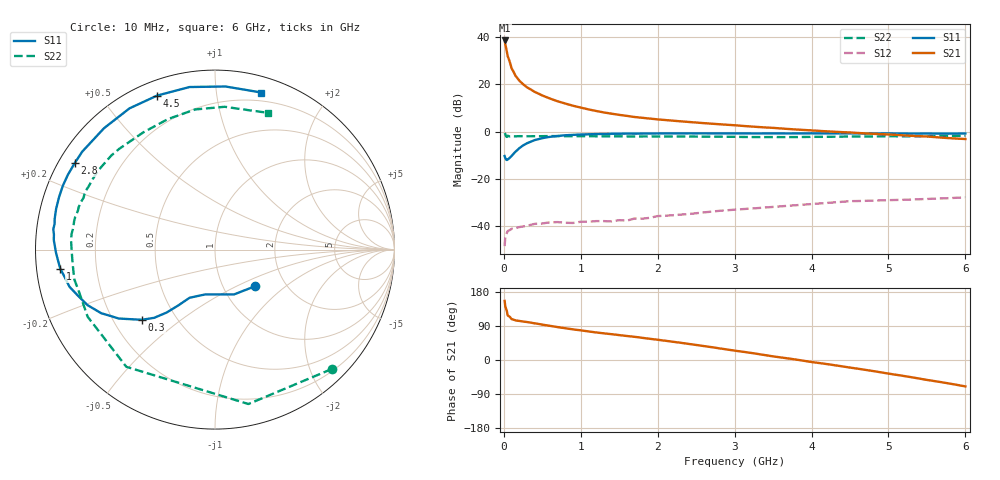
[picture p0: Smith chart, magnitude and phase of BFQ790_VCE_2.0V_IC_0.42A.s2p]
! Infineon Technologies  Discrete & RF Semiconductors
! BFQ790
! VCE =  2.0 V,  IC = 0.42 A
! Common Emitter S-Parameters:  May 2015
# GHz  S  MA  R  50
!  f  S11  S21  S12  S22
! GHz  MAG  ANG  MAG  ANG  MAG  ANG  MAG  ANG
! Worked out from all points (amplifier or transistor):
!   77 points, 10 MHz to 6 GHz, reference 50 ohm
!   highest |S21| = 38.7 dB at 10 MHz (marker M1)
!   |S21| within 3 dB of that: start of sweep to 28.6 MHz
!   unconditionally stable (mu >= 1): 144.1 MHz to end of sweep
!   at 130 MHz: K = 0.91, MSG = 33.1 dB, |S12| = -41.1 dB
!   at 2.2 GHz: K = 1.41, MAG = 16.2 dB, |S12| = -35.5 dB
!   at 6 GHz: K = 1.14, MAG = 10.1 dB, |S12| = -27.9 dB
!   S11 on the Smith chart (normalised r, x): 10 MHz: 1.41, -0.63; 300 MHz: 0.32, -0.37; 1 GHz: 0.07, -0.06; 2.8 GHz: 0.05, +0.28; 4.5 GHz: 0.06, +0.69; 6 GHz: 0.13, +1.33
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0.01  0.3035 -42.1  86.07 156.0  0.0037 66.9  0.9303 -45.7
0.02  0.2713 -66.9  70.49 139.9  0.0061 48.5  0.8802 -77.8
0.05  0.2558 -102.4  39.84 117.6  0.0077 25.9  0.8188 -127.1
0.1  0.3032 -117.8  22.09 107.9  0.0086 18.2  0.8021 -152.2
0.15  0.3721 -123.3  15.45 104.6  0.0089 18.4  0.7934 -162.8
0.2  0.4429 -127.6  12.15 103.1  0.0094 23.5  0.801 -168.0
0.25  0.5089 -131.7  10.14 101.5  0.0097 17.8  0.7977 -171.7
0.3  0.565 -136.2  8.724 100.2  0.01 18.0  0.797 -174.5
0.4  0.6596 -144.4  6.986 96.7  0.011 14.6  0.7979 -178.6
0.5  0.7265 -150.8  5.838 93.3  0.0112 13.8  0.8006 178.4
0.6  0.775 -156.5  5.032 90.1  0.0119 15.4  0.8043 175.8
0.8  0.8369 -165.7  3.937 83.8  0.0116 12.9  0.7999 171.8
1  0.8684 -172.9  3.236 78.3  0.0122 14.6  0.8007 168.4
1.1  0.8775 -176.3  2.962 75.4  0.0122 14.9  0.7996 166.8
1.5  0.9015 174.6  2.265 65.7  0.0132 17.9  0.7936 161.1
2.1  0.9148 163.4  1.759 50.8  0.0164 20.8  0.7866 152.2
2.8  0.9181 148.4  1.435 30.8  0.0208 13.2  0.7801 137.8
3.1  0.9159 141.4  1.324 22.0  0.0226 10.5  0.7701 131.2
4.1  0.9168 119.1  1.036 -8.0  0.0298 -5.7  0.7735 107.4
4.5  0.9167 110.6  0.959 -20.0  0.0334 -13.6  0.7886 98.0
5.1  0.9121 96.4  0.85 -39.0  0.0354 -26.5  0.796 84.1
6  0.9123 73.6  0.696 -69.7  0.0402 -47.9  0.8172 68.8
